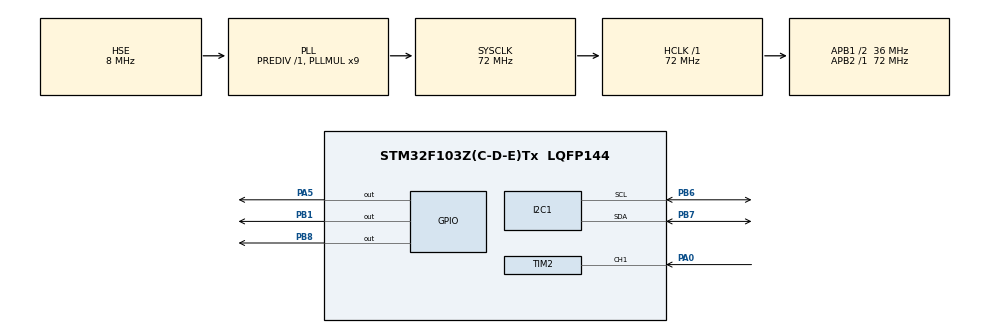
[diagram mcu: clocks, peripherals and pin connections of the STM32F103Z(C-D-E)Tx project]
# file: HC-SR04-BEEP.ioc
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Mcu.Family=STM32F1
Mcu.Name=STM32F103Z(C-D-E)Tx
Mcu.Package=LQFP144
NVIC.PriorityGroup=NVIC_PRIORITYGROUP_4
NVIC.TIM2_IRQn=true\:0\:0\:false\:false\:true\:true\:true
OSC_IN.Mode=HSE-External-Oscillator
OSC_IN.Signal=RCC_OSC_IN
OSC_OUT.Mode=HSE-External-Oscillator
OSC_OUT.Signal=RCC_OSC_OUT
PA0-WKUP.Signal=S_TIM2_CH1_ETR
PA13.Mode=Serial_Wire
PA13.Signal=SYS_JTMS-SWDIO
PA14.Mode=Serial_Wire
PA14.Signal=SYS_JTCK-SWCLK
PA5.Signal=GPIO_Output
PB1.Signal=GPIO_Output
PB6.Mode=I2C
PB6.Signal=I2C1_SCL
PB7.Mode=I2C
PB7.Signal=I2C1_SDA
PB8.PinState=GPIO_PIN_RESET
PB8.Signal=GPIO_Output
ProjectManager.HeapSize=0x200
ProjectManager.StackSize=0x400
ProjectManager.TargetToolchain=MDK-ARM V5.32
RCC.AHBFreq_Value=72000000
RCC.APB1CLKDivider=RCC_HCLK_DIV2
RCC.APB1Freq_Value=36000000
RCC.APB1TimFreq_Value=72000000
RCC.APB2Freq_Value=72000000
RCC.APB2TimFreq_Value=72000000
RCC.HCLKFreq_Value=72000000
RCC.PLLMUL=RCC_PLL_MUL9
RCC.PLLSourceVirtual=RCC_PLLSOURCE_HSE
RCC.SYSCLKFreq_VALUE=72000000
RCC.SYSCLKSource=RCC_SYSCLKSOURCE_PLLCLK
RCC.USBFreq_Value=72000000
SH.S_TIM2_CH1_ETR.0=TIM2_CH1,Input_Capture1_from_TI1
TIM1.Prescaler=71
TIM2.Channel-Input_Capture1_from_TI1=TIM_CHANNEL_1
TIM2.Prescaler=71
VP_TIM1_VS_ClockSourceINT.Mode=Internal
board=custom

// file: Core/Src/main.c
/* USER CODE BEGIN Header */
/**
  ******************************************************************************
  * @file           : main.c
  * @brief          : Main program body
  ******************************************************************************
  * @attention
  *
  * <h2><center>&copy; Copyright (c) 2022 STMicroelectronics.
  * All rights reserved.</center></h2>
  *
  * This software component is licensed by ST under BSD 3-Clause license,
  * the "License"; You may not use this file except in compliance with the
  * License. You may obtain a copy of the License at:
  *                        opensource.org/licenses/BSD-3-Clause
  *
  ******************************************************************************
  */
/* USER CODE END Header */
#include "main.h"
#include "i2c.h"
#include "tim.h"
#include "gpio.h"

/* USER CODE BEGIN Includes */
#include "hc-sr04.h"
#include "oled.h"
#include "DHT11.h"
#include "BEEP.h"
/* USER CODE END Includes */

void SystemClock_Config(void);

int main(void)
{

  /* MCU Configuration--------------------------------------------------------*/

  /* Reset of all peripherals, Initializes the Flash interface and the Systick. */
  HAL_Init();

  /* Configure the system clock */
  SystemClock_Config();

  /* Initialize all configured peripherals */
  MX_GPIO_Init();
  MX_I2C1_Init();
  MX_TIM1_Init();
  MX_TIM2_Init();
  /* USER CODE BEGIN 2 */
	OLED_Init();
  OLED_CLS();
	HAL_Delay(1000);
  Hcsr04Init(&htim2, TIM_CHANNEL_1);  // ????
  Hcsr04Start();  //  ?????

  /* USER CODE END 2 */

  /* Infinite loop */
  while (1)
  {

    /* USER CODE BEGIN 3 */

		//超声波测距显示
		DHT11();
		Hcsr04Start();
		OLED_ShowCN_STR(0,4,8,3);
		OLED_ShowStr(48,4,":",2);
		OLED_Showdecimal(55,4,Hcsr04Read(),3,2,16);
		OLED_ShowStr(100,4,"cm",2);

		//警报部分
		alarm();

  }
  /* USER CODE END 3 */
}

void SystemClock_Config(void)
{
  RCC_OscInitTypeDef RCC_OscInitStruct = {0};
  RCC_ClkInitTypeDef RCC_ClkInitStruct = {0};

  /** Initializes the RCC Oscillators according to the specified parameters
  * in the RCC_OscInitTypeDef structure.
  */
  RCC_OscInitStruct.OscillatorType = RCC_OSCILLATORTYPE_HSE;
  RCC_OscInitStruct.HSEState = RCC_HSE_ON;
  RCC_OscInitStruct.HSEPredivValue = RCC_HSE_PREDIV_DIV1;
  RCC_OscInitStruct.HSIState = RCC_HSI_ON;
  RCC_OscInitStruct.PLL.PLLState = RCC_PLL_ON;
  RCC_OscInitStruct.PLL.PLLSource = RCC_PLLSOURCE_HSE;
  RCC_OscInitStruct.PLL.PLLMUL = RCC_PLL_MUL9;
  if (HAL_RCC_OscConfig(&RCC_OscInitStruct) != HAL_OK)
  {
    Error_Handler();
  }
  /** Initializes the CPU, AHB and APB buses clocks
  */
  RCC_ClkInitStruct.ClockType = RCC_CLOCKTYPE_HCLK|RCC_CLOCKTYPE_SYSCLK
                              |RCC_CLOCKTYPE_PCLK1|RCC_CLOCKTYPE_PCLK2;
  RCC_ClkInitStruct.SYSCLKSource = RCC_SYSCLKSOURCE_PLLCLK;
  RCC_ClkInitStruct.AHBCLKDivider = RCC_SYSCLK_DIV1;
  RCC_ClkInitStruct.APB1CLKDivider = RCC_HCLK_DIV2;
  RCC_ClkInitStruct.APB2CLKDivider = RCC_HCLK_DIV1;

  if (HAL_RCC_ClockConfig(&RCC_ClkInitStruct, FLASH_LATENCY_2) != HAL_OK)
  {
    Error_Handler();
  }
}

/* USER CODE BEGIN 4 */
/**
 * @description: ?????????
 * @param {TIM_HandleTypeDef} *htim
 * @return {*}
 */
void HAL_TIM_IC_CaptureCallback(TIM_HandleTypeDef *htim)    //??????
{
  Hcsr04TimIcIsr(htim);
}

/**
 * @description: ???????
 * @param {*}
 * @return {*}
 */
void HAL_TIM_PeriodElapsedCallback(TIM_HandleTypeDef* htim)    //??????????????
{
  Hcsr04TimOverflowIsr(htim);
}
/* USER CODE END 4 */

void Error_Handler(void)
{
  __disable_irq();
  while (1)
  {
  }
}

/************************ (C) COPYRIGHT STMicroelectronics *****END OF FILE****/
